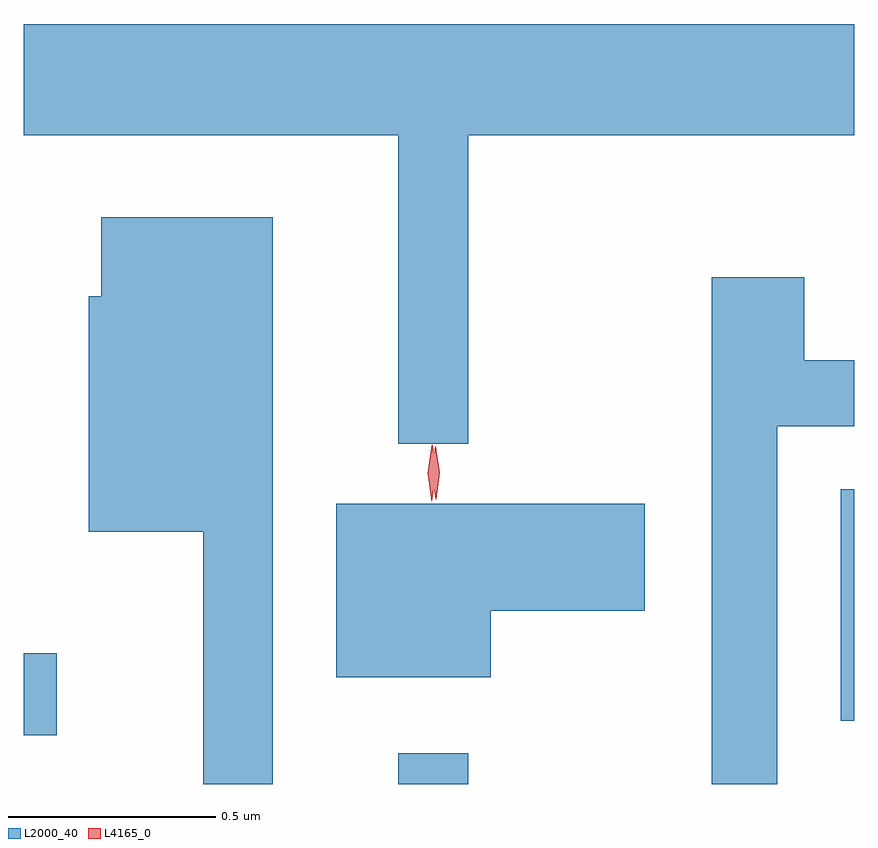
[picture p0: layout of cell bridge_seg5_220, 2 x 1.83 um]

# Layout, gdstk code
import gdstk
lib = gdstk.Library(unit=1e-6, precision=1e-09)
def R(c, l, rs):  # rectangles x0, y0, x1, y1
    for r in rs: c.add(gdstk.rectangle(r[:2], r[2:], *l))
def P(c, l, *ps):  # polygons
    for p in ps: c.add(gdstk.Polygon(p, *l))
L2000_40 = (2000, 40)
L4165_0 = (4165, 0)

bridge_seg5_220 = lib.new_cell('bridge_seg5_220')
R(bridge_seg5_220, L2000_40, [(1319.351,1406.394,1319.519,1406.468), (1318.449,1406.511,1318.529,1406.709), (1320.416,1406.546,1320.449,1407.104)])
P(bridge_seg5_220, L2000_40, [(1319.519,1407.956),(1320.449,1407.956),(1320.449,1408.224),(1318.449,1408.224),(1318.449,1407.956),(1319.351,1407.956),(1319.351,1407.213),(1319.519,1407.213)],
  [(1319.049,1407.759),(1318.636,1407.759),(1318.636,1407.569),(1318.606,1407.569),(1318.606,1407.001),(1318.881,1407.001),(1318.881,1406.394),(1319.049,1406.394)],
  [(1320.264,1407.256),(1320.449,1407.256),(1320.449,1407.414),(1320.329,1407.414),(1320.329,1407.614),(1320.106,1407.614),(1320.106,1406.394),(1320.264,1406.394)],
  [(1319.574,1406.811),(1319.944,1406.811),(1319.944,1407.069),(1319.201,1407.069),(1319.201,1406.651),(1319.574,1406.651)])
P(bridge_seg5_220, L4165_0, [(1319.441,1407.08),(1319.441,1407.08),(1319.431,1407.144),(1319.44,1407.206),(1319.441,1407.207),(1319.441,1407.206),(1319.451,1407.144),(1319.442,1407.08)],
  [(1319.431,1407.074),(1319.422,1407.142),(1319.432,1407.21),(1319.433,1407.21),(1319.434,1407.21),(1319.442,1407.142),(1319.432,1407.074),(1319.432,1407.074)])

lib.write_gds('bridge_seg5_220.gds')
